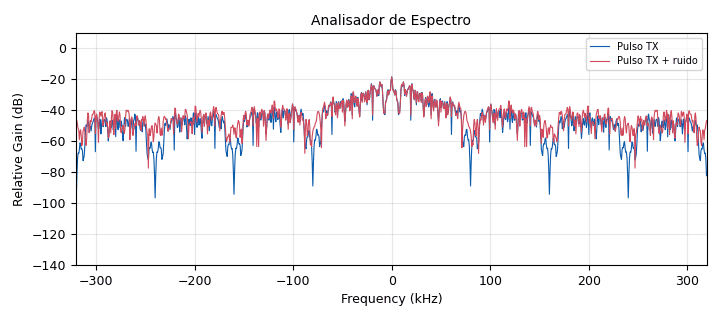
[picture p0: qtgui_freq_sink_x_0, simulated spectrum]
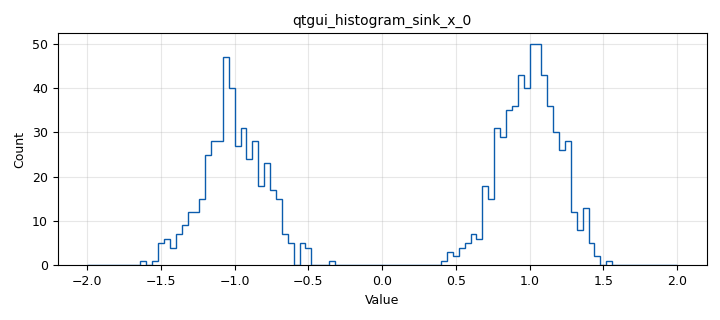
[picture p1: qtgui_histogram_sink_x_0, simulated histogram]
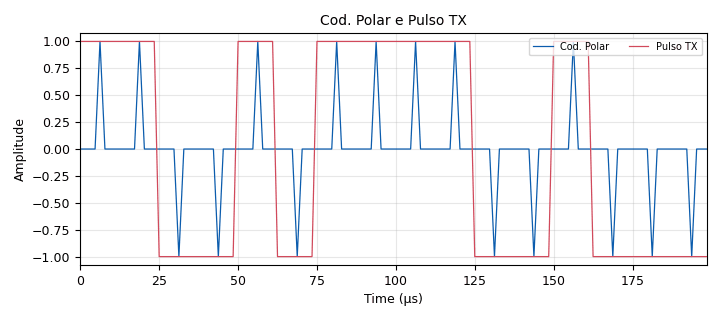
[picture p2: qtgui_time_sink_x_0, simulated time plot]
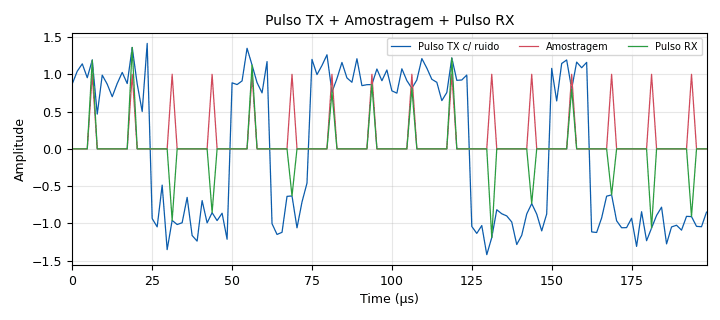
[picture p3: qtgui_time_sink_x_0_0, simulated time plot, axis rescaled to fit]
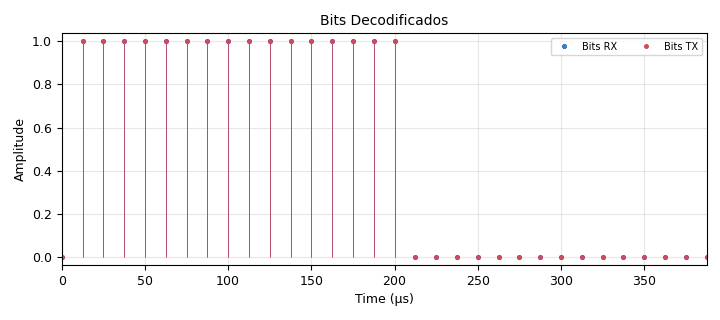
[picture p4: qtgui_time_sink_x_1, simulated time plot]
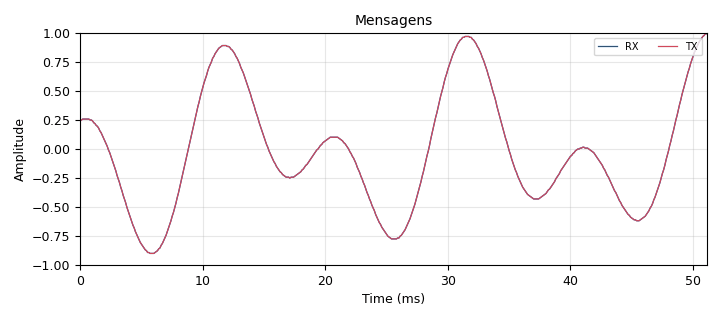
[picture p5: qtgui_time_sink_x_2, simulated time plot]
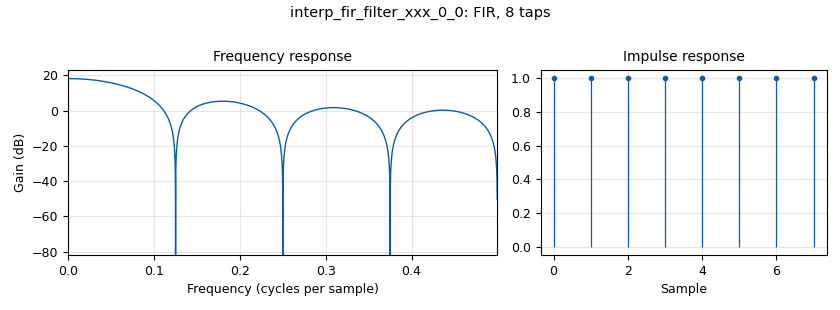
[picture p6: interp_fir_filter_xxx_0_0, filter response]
options:
  parameters:
    generate_options: qt_gui
    id: m180108140_Exp08_AR01
    output_language: python
    title: AR01
  states: {}

blocks:
- name: samp_rate
  id: variable
  parameters:
    value: '10000'
  states: {}
- name: sigma
  id: variable_qtgui_range
  parameters:
    gui_hint: (1,1,1,3)
    orient: Qt.Horizontal
    start: '0'
    step: '0.02'
    stop: '2'
    value: '0.2'
  states: {}
- name: analog_noise_source_x_0
  id: analog_noise_source_x
  parameters:
    amp: sigma
    noise_type: analog.GR_GAUSSIAN
    seed: '0'
    type: float
  states: {}
- name: analog_sig_source_x_0
  id: analog_sig_source_x
  parameters:
    amp: '0.5'
    freq: '100'
    offset: '0'
    phase: '0'
    samp_rate: samp_rate
    type: float
    waveform: analog.GR_COS_WAVE
  states: {}
- name: analog_sig_source_x_0_0
  id: analog_sig_source_x
  parameters:
    amp: '0.5'
    freq: '53'
    offset: '0'
    phase: '0'
    samp_rate: samp_rate
    type: float
    waveform: analog.GR_COS_WAVE
  states: {}
- name: blocks_abs_xx_0
  id: blocks_abs_xx
  parameters:
    type: float
  states: {}
- name: blocks_add_const_vxx_0
  id: blocks_add_const_vxx
  parameters:
    const: '-0.5'
    type: float
  states: {}
- name: blocks_add_const_vxx_1
  id: blocks_add_const_vxx
  parameters:
    const: '1'
    type: float
  states: {}
- name: blocks_add_xx_0
  id: blocks_add_xx
  parameters:
    type: float
  states: {}
- name: blocks_add_xx_1
  id: blocks_add_xx
  parameters:
    type: float
  states: {}
- name: blocks_char_to_float_0
  id: blocks_char_to_float
  parameters:
    scale: '1'
  states: {}
- name: blocks_char_to_float_1
  id: blocks_char_to_float
  parameters:
    scale: '128'
  states: {}
- name: blocks_delay_0
  id: blocks_delay
  parameters:
    delay: '4'
    type: float
  states: {}
- name: blocks_delay_1
  id: blocks_delay
  parameters:
    delay: '1'
    type: float
  states: {}
- name: blocks_delay_1_0
  id: blocks_delay
  parameters:
    delay: '7'
    type: float
  states: {}
- name: blocks_delay_2
  id: blocks_delay
  parameters:
    delay: '1'
    type: float
  states: {}
- name: blocks_float_to_char_0
  id: blocks_float_to_char
  parameters:
    scale: '128'
  states: {}
- name: blocks_float_to_char_1
  id: blocks_float_to_char
  parameters:
    scale: '1'
  states: {}
- name: blocks_multiply_const_vxx_0
  id: blocks_multiply_const_vxx
  parameters:
    const: '2'
    type: float
  states: {}
- name: blocks_multiply_const_vxx_1
  id: blocks_multiply_const_vxx
  parameters:
    const: '0.5'
    type: float
  states: {}
- name: blocks_multiply_xx_0
  id: blocks_multiply_xx
  parameters:
    type: float
  states: {}
- name: blocks_pack_k_bits_bb_0
  id: blocks_pack_k_bits_bb
  parameters:
    k: '8'
  states: {}
- name: blocks_sub_xx_0
  id: blocks_sub_xx
  parameters:
    type: float
  states: {}
- name: blocks_throttle_0
  id: blocks_throttle
  parameters:
    samples_per_second: samp_rate
    type: float
  states: {}
- name: blocks_throttle_0_0
  id: blocks_throttle
  parameters:
    samples_per_second: samp_rate
    type: float
  states: {}
- name: blocks_throttle_0_0_0
  id: blocks_throttle
  parameters:
    samples_per_second: samp_rate
    type: float
  states: {}
- name: blocks_unpack_k_bits_bb_0
  id: blocks_unpack_k_bits_bb
  parameters:
    k: '8'
  states: {}
- name: channels_quantizer_0
  id: channels_quantizer
  parameters:
    bits: '8'
  states: {}
- name: epy_block_0
  id: epy_block
  parameters:
    _source_code: |
      """
      Embedded Python Blocks:

      Each time this file is saved, GRC will instantiate the first class it finds
      to get ports and parameters of your block. The arguments to __init__  will
      be the parameters. All of them are required to have default values!
      """

      import numpy as np
      from gnuradio import gr


      class blk(gr.sync_block):  # other base classes are basic_block, decim_block, interp_block
          """Embedded Python Block example - a simple multiply const"""

          def __init__(self, passo=1):  # only default arguments here
              """arguments to this function show up as parameters in GRC"""
              gr.sync_block.__init__(
                  self,
                  name='Decisor: SGN(in)',   # will show up in GRC
                  in_sig=[np.float32],
                  out_sig=[np.float32]
              )
              # if an attribute with the same name as a parameter is found,
              # a callback is registered (properties work, too).
              self.passo = passo

          def work(self, input_items, output_items):
              """example: multiply with constant"""
              output_items[0][:] = self.passo*np.sign(input_items[0])
              return len(output_items[0])
    passo: '1'
  states: {}
- name: fir_filter_xxx_1
  id: fir_filter_xxx
  parameters:
    decim: '8'
    taps: '[0,0,0,0,1,0,0,0]'
    type: fff
  states: {}
- name: import_0
  id: import
  parameters:
    imports: import numpy as np
  states: {}
- name: interp_fir_filter_xxx_0
  id: interp_fir_filter_xxx
  parameters:
    interp: '8'
    taps: '[1, 0, 0, 0, 0, 0, 0, 0]'
    type: fff
  states: {}
- name: interp_fir_filter_xxx_0_0
  id: interp_fir_filter_xxx
  parameters:
    interp: '8'
    taps: 8*[1.0]
    type: fff
  states: {}
- name: qtgui_freq_sink_x_0
  id: qtgui_freq_sink_x
  parameters:
    bw: '640000'
    fc: '0'
    fftsize: '1024'
    grid: 'True'
    gui_hint: (2,2,3,1)
    label1: Pulso TX
    label2: Pulso TX + ruido
    name: Analisador de Espectro
    nconnections: '2'
    type: float
    wintype: firdes.WIN_BLACKMAN_hARRIS
  states: {}
- name: qtgui_histogram_sink_x_0
  id: qtgui_histogram_sink_x
  parameters:
    accum: 'True'
    bins: '100'
    grid: 'True'
    gui_hint: (8,1,3,1)
    size: '1024'
    type: float
    xmax: '2'
    xmin: '-2'
  states: {}
- name: qtgui_time_sink_x_0
  id: qtgui_time_sink_x
  parameters:
    grid: 'True'
    gui_hint: (2,1,3,1)
    label1: Cod. Polar
    label2: Pulso TX
    name: Cod. Polar e Pulso TX
    nconnections: '2'
    size: '128'
    srate: '640000'
    type: float
    yunit: ''
  states: {}
- name: qtgui_time_sink_x_0_0
  id: qtgui_time_sink_x
  parameters:
    grid: 'True'
    gui_hint: (2,3,3,1)
    label1: Pulso TX c/ ruido
    label2: Amostragem
    label3: Pulso RX
    name: Pulso TX + Amostragem + Pulso RX
    nconnections: '3'
    size: '128'
    srate: '640000'
    type: float
    yunit: ''
  states: {}
- name: qtgui_time_sink_x_1
  id: qtgui_time_sink_x
  parameters:
    alpha2: '0.6'
    grid: 'True'
    gui_hint: (5,1,3,1)
    label1: Bits RX
    label2: Bits TX
    marker1: '0'
    marker2: '0'
    name: Bits Decodificados
    nconnections: '2'
    size: '32'
    srate: '80000'
    stemplot: 'True'
    type: float
    ymin: '0'
  states: {}
- name: qtgui_time_sink_x_2
  id: qtgui_time_sink_x
  parameters:
    grid: 'True'
    gui_hint: (5,2,3,1)
    label1: RX
    label2: TX
    name: Mensagens
    nconnections: '2'
    size: '512'
    srate: '10000'
    type: float
  states: {}
- name: qtgui_time_sink_x_3
  id: qtgui_time_sink_x
  parameters:
    grid: 'True'
    gui_hint: (5,3,3,1)
    name: Bits Errados
    size: '64'
    srate: '80000'
    type: float
  states: {}
- name: virtual_sink_0
  id: virtual_sink
  parameters:
    stream_id: ruido
  states: {}
- name: virtual_sink_0_0
  id: virtual_sink
  parameters:
    stream_id: msg_quantizada
  states: {}
- name: virtual_sink_1
  id: virtual_sink
  parameters:
    stream_id: bits_TX
  states: {}
- name: virtual_sink_2
  id: virtual_sink
  parameters:
    stream_id: Amostragem
  states: {}
- name: virtual_sink_2_0
  id: virtual_sink
  parameters:
    stream_id: Pulso_TX
  states: {}
- name: virtual_sink_3
  id: virtual_sink
  parameters:
    stream_id: amostras_RX
  states: {}
- name: virtual_sink_4
  id: virtual_sink
  parameters:
    stream_id: bits_RX
  states: {}
- name: virtual_source_0
  id: virtual_source
  parameters:
    stream_id: bits_TX
  states: {}
- name: virtual_source_1
  id: virtual_source
  parameters:
    stream_id: Pulso_TX
  states: {}
- name: virtual_source_1_0
  id: virtual_source
  parameters:
    stream_id: ruido
  states: {}
- name: virtual_source_2
  id: virtual_source
  parameters:
    stream_id: Amostragem
  states: {}
- name: virtual_source_3
  id: virtual_source
  parameters:
    stream_id: amostras_RX
  states: {}
- name: virtual_source_4
  id: virtual_source
  parameters:
    stream_id: bits_TX
  states: {}
- name: virtual_source_5
  id: virtual_source
  parameters:
    stream_id: bits_RX
  states: {}
- name: virtual_source_6
  id: virtual_source
  parameters:
    stream_id: msg_quantizada
  states: {}
- name: virtual_source_7
  id: virtual_source
  parameters:
    stream_id: bits_RX
  states: {}

connections:
- [analog_noise_source_x_0, '0', blocks_throttle_0, '0']
- [analog_sig_source_x_0, '0', blocks_throttle_0_0, '0']
- [analog_sig_source_x_0_0, '0', blocks_throttle_0_0_0, '0']
- [blocks_abs_xx_0, '0', blocks_multiply_xx_0, '1']
- [blocks_abs_xx_0, '0', qtgui_time_sink_x_0_0, '1']
- [blocks_add_const_vxx_0, '0', blocks_multiply_const_vxx_0, '0']
- [blocks_add_const_vxx_1, '0', blocks_multiply_const_vxx_1, '0']
- [blocks_add_xx_0, '0', channels_quantizer_0, '0']
- [blocks_add_xx_1, '0', blocks_multiply_xx_0, '0']
- [blocks_add_xx_1, '0', qtgui_freq_sink_x_0, '1']
- [blocks_add_xx_1, '0', qtgui_time_sink_x_0_0, '0']
- [blocks_char_to_float_0, '0', virtual_sink_1, '0']
- [blocks_char_to_float_1, '0', qtgui_time_sink_x_2, '0']
- [blocks_delay_0, '0', qtgui_time_sink_x_0, '0']
- [blocks_delay_0, '0', virtual_sink_2, '0']
- [blocks_delay_1, '0', blocks_sub_xx_0, '0']
- [blocks_delay_1, '0', qtgui_time_sink_x_1, '1']
- [blocks_delay_1_0, '0', blocks_float_to_char_1, '0']
- [blocks_delay_2, '0', qtgui_time_sink_x_2, '1']
- [blocks_float_to_char_0, '0', blocks_unpack_k_bits_bb_0, '0']
- [blocks_float_to_char_1, '0', blocks_pack_k_bits_bb_0, '0']
- [blocks_multiply_const_vxx_0, '0', interp_fir_filter_xxx_0, '0']
- [blocks_multiply_const_vxx_0, '0', interp_fir_filter_xxx_0_0, '0']
- [blocks_multiply_const_vxx_1, '0', qtgui_time_sink_x_1, '0']
- [blocks_multiply_const_vxx_1, '0', virtual_sink_4, '0']
- [blocks_multiply_xx_0, '0', fir_filter_xxx_1, '0']
- [blocks_multiply_xx_0, '0', qtgui_time_sink_x_0_0, '2']
- [blocks_pack_k_bits_bb_0, '0', blocks_char_to_float_1, '0']
- [blocks_sub_xx_0, '0', qtgui_time_sink_x_3, '0']
- [blocks_throttle_0, '0', virtual_sink_0, '0']
- [blocks_throttle_0_0, '0', blocks_add_xx_0, '0']
- [blocks_throttle_0_0_0, '0', blocks_add_xx_0, '1']
- [blocks_unpack_k_bits_bb_0, '0', blocks_char_to_float_0, '0']
- [channels_quantizer_0, '0', blocks_float_to_char_0, '0']
- [channels_quantizer_0, '0', virtual_sink_0_0, '0']
- [epy_block_0, '0', blocks_add_const_vxx_1, '0']
- [fir_filter_xxx_1, '0', qtgui_histogram_sink_x_0, '0']
- [fir_filter_xxx_1, '0', virtual_sink_3, '0']
- [interp_fir_filter_xxx_0, '0', blocks_delay_0, '0']
- [interp_fir_filter_xxx_0_0, '0', qtgui_freq_sink_x_0, '0']
- [interp_fir_filter_xxx_0_0, '0', qtgui_time_sink_x_0, '1']
- [interp_fir_filter_xxx_0_0, '0', virtual_sink_2_0, '0']
- [virtual_source_0, '0', blocks_add_const_vxx_0, '0']
- [virtual_source_1, '0', blocks_add_xx_1, '0']
- [virtual_source_1_0, '0', blocks_add_xx_1, '1']
- [virtual_source_2, '0', blocks_abs_xx_0, '0']
- [virtual_source_3, '0', epy_block_0, '0']
- [virtual_source_4, '0', blocks_delay_1, '0']
- [virtual_source_5, '0', blocks_delay_1_0, '0']
- [virtual_source_6, '0', blocks_delay_2, '0']
- [virtual_source_7, '0', blocks_sub_xx_0, '1']

metadata:
  file_format: 1
